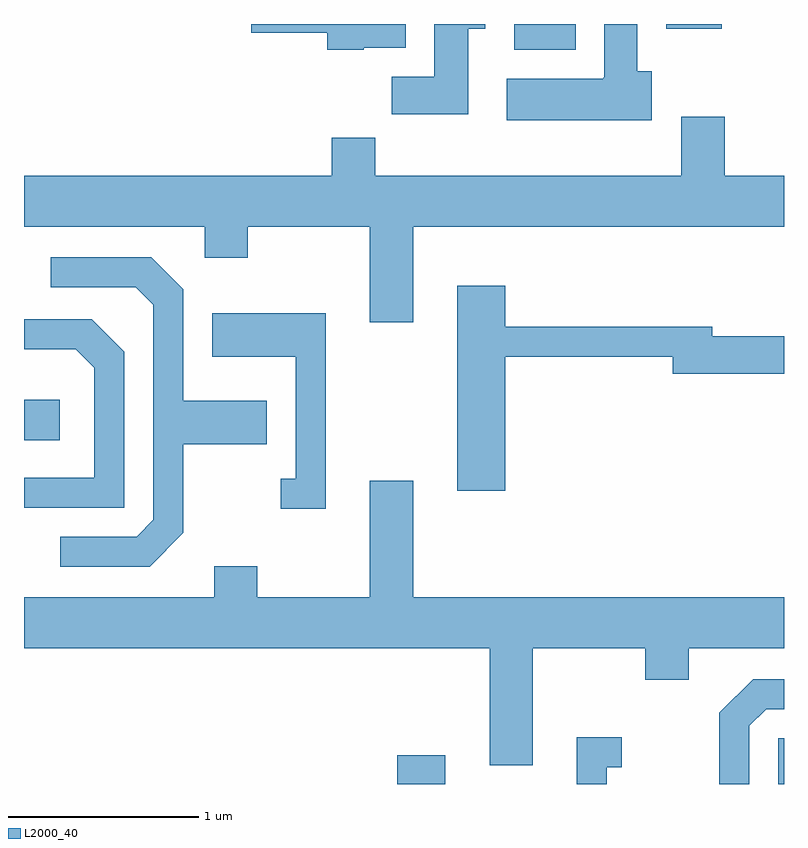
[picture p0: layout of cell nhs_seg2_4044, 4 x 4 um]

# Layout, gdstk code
import gdstk
lib = gdstk.Library(unit=1e-6, precision=1e-09)
def R(c, l, rs):  # rectangles x0, y0, x1, y1
    for r in rs: c.add(gdstk.rectangle(r[:2], r[2:], *l))
def P(c, l, *ps):  # polygons
    for p in ps: c.add(gdstk.Polygon(p, *l))
L2000_40 = (2000, 40)

nhs_seg2_4044 = lib.new_cell('nhs_seg2_4044')
R(nhs_seg2_4044, L2000_40, [(305.576,1069.802,305.829,1069.954), (307.581,1069.802,307.611,1070.044), (303.611,1071.611,303.799,1071.824), (306.191,1073.666,306.514,1073.802), (306.991,1073.776,307.284,1073.802)])
P(nhs_seg2_4044, L2000_40, [(305.4,1073.676),(305.619,1073.676),(305.619,1073.802),(304.806,1073.802),(304.806,1073.756),(305.206,1073.756),(305.206,1073.666),(305.4,1073.666)],
  [(305.949,1073.776),(306.039,1073.776),(306.039,1073.802),(305.771,1073.802),(305.771,1073.524),(305.546,1073.524),(305.546,1073.326),(305.949,1073.326)],
  [(306.914,1073.554),(306.839,1073.554),(306.839,1073.802),(306.666,1073.802),(306.666,1073.52),(306.66,1073.52),(306.66,1073.514),(306.151,1073.514),(306.151,1073.296),(306.914,1073.296)],
  [(305.659,1072.736),(307.611,1072.736),(307.611,1073.004),(307.299,1073.004),(307.299,1073.314),(307.071,1073.314),(307.071,1073.004),(305.459,1073.004),(305.459,1073.204),(305.231,1073.204),(305.231,1073.004),(303.611,1073.004),(303.611,1072.736),(304.561,1072.736),(304.561,1072.571),(304.789,1072.571),(304.789,1072.736),(305.431,1072.736),(305.431,1072.231),(305.659,1072.231)],
  [(304.449,1071.124),(304.449,1071.591),(304.889,1071.591),(304.889,1071.819),(304.449,1071.819),(304.449,1072.407),(304.282,1072.574),(303.753,1072.574),(303.753,1072.416),(304.199,1072.416),(304.291,1072.324),(304.291,1071.192),(304.204,1071.104),(303.803,1071.104),(303.803,1070.946),(304.272,1070.946)],
  [(306.144,1072.051),(307.026,1072.051),(307.026,1071.961),(307.611,1071.961),(307.611,1072.159),(307.234,1072.159),(307.234,1072.209),(306.144,1072.209),(306.144,1072.424),(305.891,1072.424),(305.891,1071.346),(306.144,1071.346)],
  [(305.199,1072.279),(304.601,1072.279),(304.601,1072.051),(305.041,1072.051),(305.041,1071.409),(304.963,1071.409),(304.963,1071.251),(305.199,1071.251)],
  [(304.139,1072.077),(303.967,1072.249),(303.611,1072.249),(303.611,1072.091),(303.884,1072.091),(303.981,1071.994),(303.981,1071.414),(303.611,1071.414),(303.611,1071.256),(304.139,1071.256)],
  [(306.289,1070.516),(306.881,1070.516),(306.881,1070.351),(307.109,1070.351),(307.109,1070.516),(307.611,1070.516),(307.611,1070.784),(305.659,1070.784),(305.659,1071.399),(305.431,1071.399),(305.431,1070.784),(304.839,1070.784),(304.839,1070.949),(304.611,1070.949),(304.611,1070.784),(303.611,1070.784),(303.611,1070.516),(306.061,1070.516),(306.061,1069.901),(306.289,1069.901)],
  [(307.429,1070.109),(307.517,1070.196),(307.611,1070.196),(307.611,1070.354),(307.449,1070.354),(307.271,1070.177),(307.271,1069.802),(307.429,1069.802)],
  [(306.679,1069.891),(306.758,1069.891),(306.758,1070.049),(306.521,1070.049),(306.521,1069.802),(306.679,1069.802)])

lib.write_gds('nhs_seg2_4044.gds')
